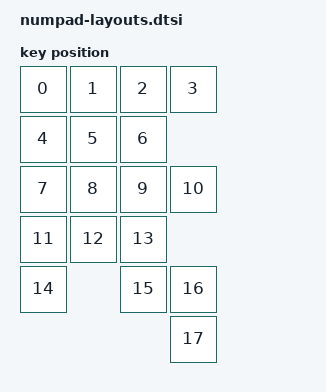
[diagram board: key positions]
#include <physical_layouts.dtsi>

/ {
    numpad_layout: numpad_layout {
        compatible = "zmk,physical-layout";
        display-name = "Numpad";
        kscan = <&default_kscan>;
        transform = <&default_transform>;

        /* 18 Keys in der Reihenfolge deiner map (100 = 1U) */
        keys =
            <&key_physical_attrs 100 100    0    0  0 0 0>,  /* RC(0,0) */
            <&key_physical_attrs 100 100  100    0  0 0 0>,  /* RC(0,1) */
            <&key_physical_attrs 100 100  200    0  0 0 0>,  /* RC(0,2) */
            <&key_physical_attrs 100 100  300    0  0 0 0>,  /* RC(0,3) */

            <&key_physical_attrs 100 100    0  100  0 0 0>,  /* RC(1,0) */
            <&key_physical_attrs 100 100  100  100  0 0 0>,  /* RC(1,1) */
            <&key_physical_attrs 100 100  200  100  0 0 0>,  /* RC(1,2) */

            <&key_physical_attrs 100 100    0  200  0 0 0>,  /* RC(2,0) */
            <&key_physical_attrs 100 100  100  200  0 0 0>,  /* RC(2,1) */
            <&key_physical_attrs 100 100  200  200  0 0 0>,  /* RC(2,2) */
            <&key_physical_attrs 100 100  300  200  0 0 0>,  /* RC(2,3) */

            <&key_physical_attrs 100 100    0  300  0 0 0>,  /* RC(3,0) */
            <&key_physical_attrs 100 100  100  300  0 0 0>,  /* RC(3,1) */
            <&key_physical_attrs 100 100  200  300  0 0 0>,  /* RC(3,2) */

            <&key_physical_attrs 100 100    0  400  0 0 0>,  /* RC(4,0) */
            <&key_physical_attrs 100 100  200  400  0 0 0>,  /* RC(4,2) */
            <&key_physical_attrs 100 100  300  400  0 0 0>,  /* RC(4,3) */

            <&key_physical_attrs 100 100  300  500  0 0 0>;  /* RC(5,3) */
    };
};
